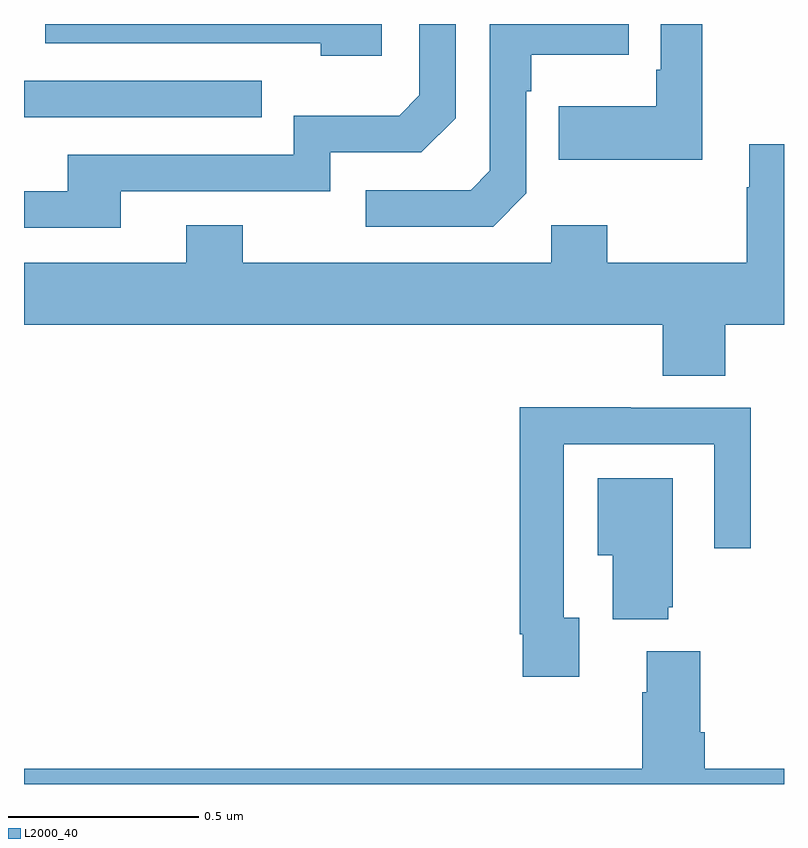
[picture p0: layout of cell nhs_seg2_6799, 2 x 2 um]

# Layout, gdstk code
import gdstk
lib = gdstk.Library(unit=1e-6, precision=1e-09)
def R(c, l, rs):  # rectangles x0, y0, x1, y1
    for r in rs: c.add(gdstk.rectangle(r[:2], r[2:], *l))
def P(c, l, *ps):  # polygons
    for p in ps: c.add(gdstk.Polygon(p, *l))
L2000_40 = (2000, 40)

nhs_seg2_6799 = lib.new_cell('nhs_seg2_6799')
R(nhs_seg2_6799, L2000_40, [(196,609.555,196.625,609.651)])
P(nhs_seg2_6799, L2000_40, [(197.785,609.8),(197.676,609.8),(197.676,609.679),(197.664,609.679),(197.664,609.583),(197.407,609.583),(197.407,609.443),(197.785,609.443)],
  [(197.322,609.354),(197.322,609.623),(197.335,609.623),(197.335,609.719),(197.591,609.719),(197.591,609.8),(197.226,609.8),(197.226,609.414),(197.175,609.363),(196.899,609.363),(196.899,609.267),(197.235,609.267)],
  [(196.942,609.8),(196.056,609.8),(196.056,609.75),(196.781,609.75),(196.781,609.716),(196.942,609.716)],
  [(196.255,609.36),(196.806,609.36),(196.806,609.462),(197.046,609.462),(197.136,609.552),(197.136,609.8),(197.04,609.8),(197.04,609.612),(196.987,609.559),(196.71,609.559),(196.71,609.456),(196.115,609.456),(196.115,609.36),(196,609.36),(196,609.264),(196.255,609.264)],
  [(197.846,609.008),(198,609.008),(198,609.484),(197.909,609.484),(197.909,609.371),(197.902,609.371),(197.902,609.172),(197.535,609.172),(197.535,609.271),(197.388,609.271),(197.388,609.172),(196.575,609.172),(196.575,609.271),(196.427,609.271),(196.427,609.172),(196,609.172),(196,609.008),(197.681,609.008),(197.681,608.875),(197.846,608.875)],
  [(197.461,608.238),(197.421,608.238),(197.421,608.694),(197.817,608.694),(197.817,608.421),(197.913,608.421),(197.913,608.79),(197.597,608.79),(197.597,608.792),(197.305,608.792),(197.305,608.194),(197.313,608.194),(197.313,608.082),(197.461,608.082)],
  [(197.696,608.265),(197.707,608.265),(197.707,608.605),(197.51,608.605),(197.51,608.402),(197.549,608.402),(197.549,608.234),(197.696,608.234)],
  [(198,607.84),(197.792,607.84),(197.792,607.936),(197.779,607.936),(197.779,608.149),(197.639,608.149),(197.639,608.042),(197.627,608.042),(197.627,607.84),(196,607.84),(196,607.8),(198,607.8)])

lib.write_gds('nhs_seg2_6799.gds')
